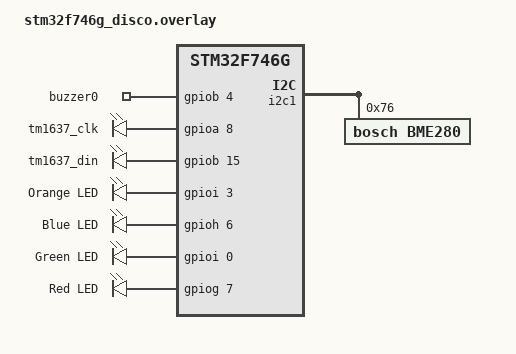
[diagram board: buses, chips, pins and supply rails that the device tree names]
/ {
	aliases {
		buzzer = &buzzer0;
		led0 = &orange_led_shield;
		led1 = &blue_led_shield;
		led2 = &green_led_shield;
		led3 = &red_led_shield;
	};
};

&i2c1 {
	status = "okay";
	bme280@76 {
		compatible = "bosch,bme280";
		reg = <0x76>;
	};
};


/ {
	leds {
		compatible = "gpio-leds";

		buzzer0: buzzer0 {
			gpios = <&gpiob 4 GPIO_ACTIVE_HIGH>; // D3 - PB4
			status = "okay";
		};
		
		tm1637_clk: tm1637_clk {
			gpios = <&gpioa 8 GPIO_ACTIVE_HIGH>; // D10 - PA8
			label = "tm1637_clk";
			status = "okay";
		};
		
		tm1637_din: tm1637_din {
			gpios = <&gpiob 15 GPIO_ACTIVE_HIGH>; // D11 - PB15
			label = "tm1637_din";
			status = "okay";
		};
		
		orange_led_shield: orange_led_shield {
			gpios = <&gpioi 3 GPIO_ACTIVE_HIGH>; // D7 - PI3
			label = "Orange LED";
			status = "okay";
		};

		blue_led_shield: blue_led_shield {
			gpios = <&gpioh 6 GPIO_ACTIVE_HIGH>; // D6 - PH6
			label = "Blue LED";
			status = "okay";
		};
		
		green_led_shield: green_led_shield {
			gpios = <&gpioi 0 GPIO_ACTIVE_HIGH>; // D5 - PI0
			label = "Green LED";
			status = "okay";
		};
		
		red_led_shield: red_led_shield {
			gpios = <&gpiog 7 GPIO_ACTIVE_HIGH>; // D4 - PG7
			label = "Red LED";
			status = "okay";
		};
	};
};
